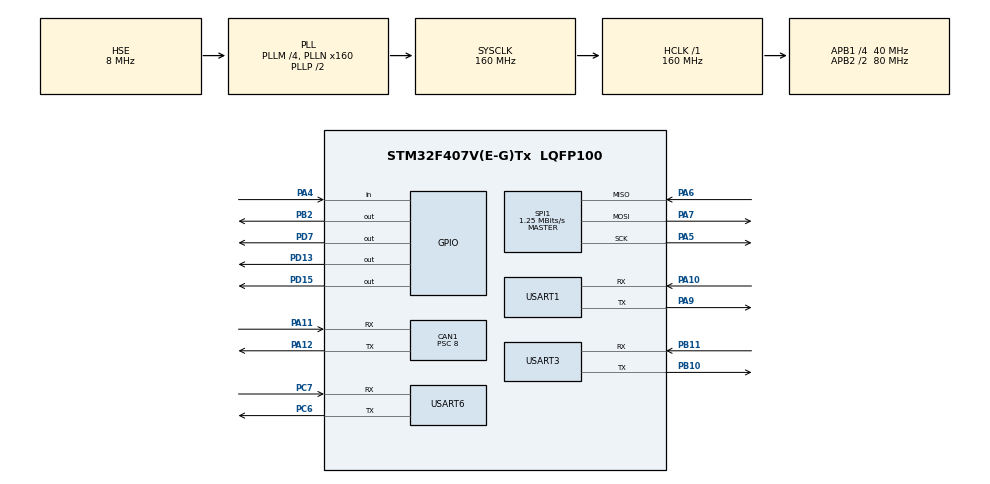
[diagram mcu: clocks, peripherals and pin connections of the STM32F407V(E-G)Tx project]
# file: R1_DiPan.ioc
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CAN1.BS1=CAN_BS1_3TQ
CAN1.CalculateBaudRate=1000000
CAN1.CalculateTimeBit=1000
CAN1.CalculateTimeQuantum=200.0
CAN1.Prescaler=8
Dma.Request0=USART6_RX
Dma.Request1=USART3_RX
Dma.USART3_RX.1.Direction=DMA_PERIPH_TO_MEMORY
Dma.USART3_RX.1.FIFOMode=DMA_FIFOMODE_DISABLE
Dma.USART3_RX.1.Instance=DMA1_Stream1
Dma.USART3_RX.1.MemDataAlignment=DMA_MDATAALIGN_BYTE
Dma.USART3_RX.1.MemInc=DMA_MINC_ENABLE
Dma.USART3_RX.1.Mode=DMA_CIRCULAR
Dma.USART3_RX.1.PeriphDataAlignment=DMA_PDATAALIGN_BYTE
Dma.USART3_RX.1.PeriphInc=DMA_PINC_DISABLE
Dma.USART3_RX.1.Priority=DMA_PRIORITY_LOW
Dma.USART6_RX.0.Direction=DMA_PERIPH_TO_MEMORY
Dma.USART6_RX.0.FIFOMode=DMA_FIFOMODE_DISABLE
Dma.USART6_RX.0.Instance=DMA2_Stream1
Dma.USART6_RX.0.MemDataAlignment=DMA_MDATAALIGN_BYTE
Dma.USART6_RX.0.MemInc=DMA_MINC_ENABLE
Dma.USART6_RX.0.Mode=DMA_CIRCULAR
Dma.USART6_RX.0.PeriphDataAlignment=DMA_PDATAALIGN_BYTE
Dma.USART6_RX.0.PeriphInc=DMA_PINC_DISABLE
Dma.USART6_RX.0.Priority=DMA_PRIORITY_LOW
Mcu.Family=STM32F4
Mcu.Name=STM32F407V(E-G)Tx
Mcu.Package=LQFP100
NVIC.CAN1_RX0_IRQn=true\:0\:0\:false\:false\:true\:true\:true\:true
NVIC.DMA1_Stream1_IRQn=true\:0\:0\:false\:false\:true\:false\:true\:true
NVIC.DMA2_Stream1_IRQn=true\:0\:0\:false\:false\:true\:false\:true\:true
NVIC.PriorityGroup=NVIC_PRIORITYGROUP_4
NVIC.TIM4_IRQn=true\:0\:0\:false\:false\:true\:true\:true\:true
NVIC.TIM5_IRQn=true\:0\:0\:false\:false\:true\:true\:true\:true
NVIC.USART1_IRQn=true\:0\:0\:false\:false\:true\:true\:true\:true
NVIC.USART6_IRQn=true\:0\:0\:false\:false\:true\:true\:true\:true
PA10.Mode=Asynchronous
PA10.Signal=USART1_RX
PA11.Mode=CAN_Activate
PA11.Signal=CAN1_RX
PA12.Mode=CAN_Activate
PA12.Signal=CAN1_TX
PA13.Mode=JTAG_5_pins
PA13.Signal=SYS_JTMS-SWDIO
PA14.Mode=JTAG_5_pins
PA14.Signal=SYS_JTCK-SWCLK
PA15.Mode=JTAG_5_pins
PA15.Signal=SYS_JTDI
PA4.Signal=GPIO_Input
PA5.Mode=Full_Duplex_Master
PA5.Signal=SPI1_SCK
PA6.Mode=Full_Duplex_Master
PA6.Signal=SPI1_MISO
PA7.Mode=Full_Duplex_Master
PA7.Signal=SPI1_MOSI
PA9.Mode=Asynchronous
PA9.Signal=USART1_TX
PB10.Mode=Asynchronous
PB10.Signal=USART3_TX
PB11.Mode=Asynchronous
PB11.Signal=USART3_RX
PB2.GPIO_PuPd=GPIO_NOPULL
PB2.PinState=GPIO_PIN_SET
PB2.Signal=GPIO_Output
PB3.Mode=JTAG_5_pins
PB3.Signal=SYS_JTDO-SWO
PB4.Mode=JTAG_5_pins
PB4.Signal=SYS_JTRST
PC6.Mode=Asynchronous
PC6.Signal=USART6_TX
PC7.Mode=Asynchronous
PC7.Signal=USART6_RX
PD13.GPIO_PuPd=GPIO_PULLDOWN
PD13.Signal=GPIO_Output
PD15.GPIO_PuPd=GPIO_PULLUP
PD15.PinState=GPIO_PIN_SET
PD15.Signal=GPIO_Output
PD7.GPIO_Speed=GPIO_SPEED_FREQ_VERY_HIGH
PD7.Signal=GPIO_Output
PH0-OSC_IN.Mode=HSE-External-Oscillator
PH0-OSC_IN.Signal=RCC_OSC_IN
PH1-OSC_OUT.Mode=HSE-External-Oscillator
PH1-OSC_OUT.Signal=RCC_OSC_OUT
ProjectManager.HeapSize=0x200
ProjectManager.StackSize=0x400
ProjectManager.TargetToolchain=MDK-ARM V5.27
RCC.48MHZClocksFreq_Value=80000000
RCC.AHBFreq_Value=160000000
RCC.APB1CLKDivider=RCC_HCLK_DIV4
RCC.APB1Freq_Value=40000000
RCC.APB1TimFreq_Value=80000000
RCC.APB2CLKDivider=RCC_HCLK_DIV2
RCC.APB2Freq_Value=80000000
RCC.APB2TimFreq_Value=160000000
RCC.CortexFreq_Value=160000000
RCC.HCLKFreq_Value=160000000
RCC.HSE_VALUE=8000000
RCC.HSI_VALUE=16000000
RCC.LSE_VALUE=32768
RCC.PLLM=4
RCC.PLLN=160
RCC.PLLSourceVirtual=RCC_PLLSOURCE_HSE
RCC.SYSCLKFreq_VALUE=160000000
RCC.SYSCLKSource=RCC_SYSCLKSOURCE_PLLCLK
RCC.VCOOutputFreq_Value=320000000
SPI1.BaudRatePrescaler=SPI_BAUDRATEPRESCALER_64
SPI1.CLKPhase=SPI_PHASE_2EDGE
SPI1.CalculateBaudRate=1.25 MBits/s
SPI1.Direction=SPI_DIRECTION_2LINES
SPI1.Mode=SPI_MODE_MASTER
SPI1.VirtualType=VM_MASTER
TIM4.AutoReloadPreload=TIM_AUTORELOAD_PRELOAD_ENABLE
TIM4.Period=1000-1
TIM4.Prescaler=80-1
TIM5.AutoReloadPreload=TIM_AUTORELOAD_PRELOAD_ENABLE
TIM5.Period=1000-1
TIM5.Prescaler=80-1
USART1.VirtualMode=VM_ASYNC
USART3.VirtualMode=VM_ASYNC
USART6.VirtualMode=VM_ASYNC
VP_TIM4_VS_ClockSourceINT.Mode=Internal
VP_TIM5_VS_ClockSourceINT.Mode=Internal
board=custom

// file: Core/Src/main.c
/* USER CODE BEGIN Header */
/**
  ******************************************************************************
  * @file           : main.c
  * @brief          : Main program body
  ******************************************************************************
  * @attention
  *
  * <h2><center>&copy; Copyright (c) 2022 STMicroelectronics.
  * All rights reserved.</center></h2>
  *
  * This software component is licensed by ST under BSD 3-Clause license,
  * the "License"; You may not use this file except in compliance with the
  * License. You may obtain a copy of the License at:
  *                        opensource.org/licenses/BSD-3-Clause
  *
  ******************************************************************************
  */
/* USER CODE END Header */
#include "main.h"
#include "can.h"
#include "dma.h"
#include "spi.h"
#include "tim.h"
#include "usart.h"
#include "gpio.h"

/* USER CODE BEGIN Includes */
#include "omni.h"
#include "nrf_com.h"
#include "Caculate.h"
#include "DJI.h"
#include "wtr_can.h"
#include "ADS1256.h"
#include "mpu6050.h"
#include "Wtr_MotionPlan.h"
#include "main.h"
#include "stdio.h"
#include "wtr_mavlink.h"
/* USER CODE END Includes */

/* USER CODE BEGIN PV */
int ref_x = 0;
int ref_y = 0;
int cur_x = 0;
int cur_y = 0;
int cur_gate[4] = {0,0,0,0};
int gate_y = 0;
int Ref_x[13] = {0,0,0,0,0,0,0,0,0,0,0,0,0};
int Ref_y[13] = {0,0,0,0,0,0,0,0,0,0,0,0,0};

int ifRecv = 0;
int ifRecv_mpu = 0;
int16_t HWT_init = 0;
int16_t HWT_init_lsat = 0;

uint32_t time = 0;
uint32_t enter_time = 0;
uint32_t tick = 0;

uint32_t counter = 0;

int b = 0;
int a = 0;

int state = 0;
int index_r = 0;
int index_b = 0;

uint8_t region = 0;

uint8_t zone = 0;
uint8_t qu_qiu = 0;
uint8_t she_qiu = 0;

float robot_vx = 0;
float robot_vy = 0;
float robot_rot = 0;
float robot_vx_last = 0;
float robot_vy_last = 0;
float robot_rot_last = 0;
float k_bias = 0.15;

int32_t Bias_mpu = 0;

mavlink_controller_t ControllerData = {0};
/* USER CODE END PV */

void SystemClock_Config(void);

int main(void)
{

  /* MCU Configuration--------------------------------------------------------*/

  /* Reset of all peripherals, Initializes the Flash interface and the Systick. */
  HAL_Init();

  /* Configure the system clock */
  SystemClock_Config();

  /* Initialize all configured peripherals */
  MX_GPIO_Init();
  MX_DMA_Init();
  MX_SPI1_Init();
  MX_USART6_UART_Init();
  MX_CAN1_Init();
  MX_TIM4_Init();
  MX_USART1_UART_Init();
  MX_TIM5_Init();
  MX_USART3_UART_Init();
  /* USER CODE BEGIN 2 */

	HAL_GPIO_WritePin(GPIOD,GPIO_PIN_15,GPIO_PIN_SET);
	HAL_GPIO_WritePin(GPIOD,GPIO_PIN_13,GPIO_PIN_RESET);

	CANFilterInit(&hcan1);

	hDJI[0].motorType = M3508;
	hDJI[1].motorType = M3508;
	hDJI[2].motorType = M3508;
	hDJI[3].motorType = M3508;

	DJI_Init();

	Kine_Init(0.55,0.55,0,0);

	ifRecv = 0;

	ADS1256_Init();
  // MotionPlan_Init(((float)(ADS1256_diff_data[3]))/547098.f,((float)(ADS1256_diff_data[0]))/547098.f);

	HAL_TIM_Base_Start_IT(&htim4);
	HAL_TIM_Base_Start_IT(&htim5);

	nrf_Transmit_init();
	// nrf_receive_init();

  WTR_MAVLink_Init(&huart1,MAVLINK_COMM_0);
  WTR_MAVLink_RcvStart(MAVLINK_COMM_0);

	// mpu6050_init();
	// HWT_init = HWT_BIAS;
  /* USER CODE END 2 */

  /* Infinite loop */
  /* USER CODE BEGIN WHILE */
  while (1)
  {
    tick = HAL_GetTick();
		while(!ifRecv)
		{
      time = 0;
		}

    ADS1256_UpdateDiffData();

    if(ControllerData.left_x > 100)
    {
      Leftx = -ControllerData.left_x - 100 + 2048;
    }
    else if (ControllerData.left_x < -100)
    {
      Leftx = -ControllerData.left_x + 100 + 2048;
    }
    else
    {
      Leftx = 2048;
    }

    if(ControllerData.left_y > 100)
    {
      Lefty = -ControllerData.left_y - 100 + 2048;
    }
    else if (ControllerData.left_y < -100)
    {
      Lefty = -ControllerData.left_y + 100 + 2048;
    }
    else
    {
      Lefty = 2048;
    }

    if(ControllerData.right_x > 100)
    {
      Rightx = -ControllerData.right_x - 100 + 2048;
    }
    else if (ControllerData.right_x < -100)
    {
      Rightx = -ControllerData.right_x + 100 + 2048;
    }
    else
    {
      Rightx = 2048;
    }

    if(ControllerData.right_y > 100)
    {
      Righty = -ControllerData.right_y - 100 + 2048;
    }
    else if (ControllerData.right_y < -100)
    {
      Righty = -ControllerData.right_y + 100 + 2048;
    }
    else
    {
      Righty = 2048;
    }

    // if(ControllerData.left_x>-100 || ControllerData.left_x<100) ControllerData.left_x = 0;
    // Leftx = ControllerData.left_x + 2048;
    // if(ControllerData.left_y>-100 || ControllerData.left_y<100) ControllerData.left_y = 0;
    // Rightx = ControllerData.right_x + 2048;
    // if(ControllerData.right_x>-100 || ControllerData.right_x<100) ControllerData.right_x = 0;
    // Lefty = ControllerData.left_y + 2048;
    // if(ControllerData.right_y>-100 || ControllerData.right_y<100) ControllerData.right_y = 0;
    // Righty = ControllerData.right_y + 2048;
    button_A = (ControllerData.buttons & (1<<0))/1;
    button_B = (ControllerData.buttons & (1<<1))/2;
    button_C = (ControllerData.buttons & (1<<2))/4;
    button_D = (ControllerData.buttons & (1<<3))/8;
    button_E = (ControllerData.buttons & (1<<4))/16;
    button_F = (ControllerData.buttons & (1<<5))/32;
    button_G = (ControllerData.buttons & (1<<6))/64;
    button_H = (ControllerData.buttons & (1<<7))/128;

    if(state == 0){
		robot_vx = ((float)(2048 - Leftx))/1000;
    if(robot_vx>0 && robot_vx<1) robot_vx = robot_vx*robot_vx;
    else if(robot_vx>-1 && robot_vx<0) robot_vx = -robot_vx*robot_vx;
	  robot_vy = ((float)(2048 - Lefty))/1000;
    if(robot_vy>0 && robot_vy<1) robot_vy = robot_vy*robot_vy;
    else if(robot_vy>-1 && robot_vy<0) robot_vy = -robot_vy*robot_vy;
    robot_rot = -((float)(Rightx - 2048))/1000;
    if(robot_rot>0 && robot_rot<1) robot_rot = robot_rot*robot_rot;
    else if(robot_rot>-1 && robot_rot<0) robot_rot = -robot_rot*robot_rot;
  //xian fu
		if(robot_rot>2) robot_rot = 2;
    if(robot_rot<-2) robot_rot = -2;
		if(robot_vx>2) robot_vx = 2;
    if(robot_vx<-2) robot_vx = -2;
		if(robot_vy>2) robot_vy = 2;
    if(robot_vy<-2) robot_vy = -2;
  //qu qiu you hua
    if(ADS1256_diff_data[0]<212000)
    {
      robot_vx*=0.3f;
      robot_vy*=0.3f;
    }
    }
    Kine_SetSpeed(robot_vx,robot_vy,robot_rot);

		CanTransmit_DJI_1234(&hcan1,
															 hDJI[0].speedPID.output,
															 hDJI[1].speedPID.output,
															 hDJI[2].speedPID.output,
															 hDJI[3].speedPID.output);

    if(button_E == 1 && button_B == 1)
    {
      switch (region)
      {
        case 0:
        zone = 25;
        break;
        case 1:
        zone = 1;
        break;
        case 3:
        zone = 3;
        break;
        case 5:
        zone = 5;
        break;
        case 7:
        zone = 7;
        break;
        case 9:
        zone = 9;
        break;
        case 11:
        zone = 11;
        break;
        case 2:
        zone = 13;
        break;
        case 4:
        zone = 15;
        break;
        case 6:
        zone = 17;
        break;
        case 8:
        zone = 19;
        break;
        case 10:
        zone = 21;
        break;
        case 12:
        zone = 23;
        break;
      default:
      zone = zone;
        break;
      }
    }

    if(button_F == 1 && button_B == 1)
    {
      switch (region)
      {
        case 0:
        zone = 0;
        break;
        case 1:
        zone = 2;
        break;
        case 3:
        zone = 4;
        break;
        case 5:
        zone = 6;
        break;
        case 7:
        zone = 8;
        break;
        case 9:
        zone = 10;
        break;
        case 11:
        zone = 12;
        break;
        case 2:
        zone = 14;
        break;
        case 4:
        zone = 16;
        break;
        case 6:
        zone = 18;
        break;
        case 8:
        zone = 20;
        break;
        case 10:
        zone = 22;
        break;
        case 12:
        zone = 24;
        break;
      default:
      zone = zone;
        break;
      }
    }

		nrfDataBag.Leftx = Leftx;
		nrfDataBag.Rightx = Rightx;
		nrfDataBag.Lefty = Lefty;
		nrfDataBag.Righty = Righty;
		nrfDataBag.button_A = button_A;
		nrfDataBag.button_B = button_B;
		nrfDataBag.button_C = button_C;
		nrfDataBag.button_D = button_D;
		nrfDataBag.button_E = button_E;
		nrfDataBag.button_F = button_F;
		nrfDataBag.button_G = button_G;
		nrfDataBag.button_H = button_H;
    nrfDataBag.zone = zone;
		nrfDataBag.qu_qiu = qu_qiu;
		nrfDataBag.she_qiu = she_qiu;
		send();

    //if(counter%5 == 0) printf("pgy:%d,%d,%d,%u\n",(int)(hDJI[2].speedPID.ref*100),(int)(hDJI[2].FdbData.rpm *100),(int)(hDJI[2].speedPID.output*100),(HAL_GetTick() - tick));
    /* USER CODE END WHILE */

    /* USER CODE BEGIN 3 */
		HAL_Delay(1);
    counter++;
		// wheel[0].speed = 	wheel[1].speed = 	wheel[2].speed = 	wheel[3].speed = 0;
  }
  /* USER CODE END 3 */
}

void SystemClock_Config(void)
{
  RCC_OscInitTypeDef RCC_OscInitStruct = {0};
  RCC_ClkInitTypeDef RCC_ClkInitStruct = {0};

  /** Configure the main internal regulator output voltage
  */
  __HAL_RCC_PWR_CLK_ENABLE();
  __HAL_PWR_VOLTAGESCALING_CONFIG(PWR_REGULATOR_VOLTAGE_SCALE1);

  /** Initializes the RCC Oscillators according to the specified parameters
  * in the RCC_OscInitTypeDef structure.
  */
  RCC_OscInitStruct.OscillatorType = RCC_OSCILLATORTYPE_HSE;
  RCC_OscInitStruct.HSEState = RCC_HSE_ON;
  RCC_OscInitStruct.PLL.PLLState = RCC_PLL_ON;
  RCC_OscInitStruct.PLL.PLLSource = RCC_PLLSOURCE_HSE;
  RCC_OscInitStruct.PLL.PLLM = 4;
  RCC_OscInitStruct.PLL.PLLN = 160;
  RCC_OscInitStruct.PLL.PLLP = RCC_PLLP_DIV2;
  RCC_OscInitStruct.PLL.PLLQ = 4;
  if (HAL_RCC_OscConfig(&RCC_OscInitStruct) != HAL_OK)
  {
    Error_Handler();
  }

  /** Initializes the CPU, AHB and APB buses clocks
  */
  RCC_ClkInitStruct.ClockType = RCC_CLOCKTYPE_HCLK|RCC_CLOCKTYPE_SYSCLK
                              |RCC_CLOCKTYPE_PCLK1|RCC_CLOCKTYPE_PCLK2;
  RCC_ClkInitStruct.SYSCLKSource = RCC_SYSCLKSOURCE_PLLCLK;
  RCC_ClkInitStruct.AHBCLKDivider = RCC_SYSCLK_DIV1;
  RCC_ClkInitStruct.APB1CLKDivider = RCC_HCLK_DIV4;
  RCC_ClkInitStruct.APB2CLKDivider = RCC_HCLK_DIV2;

  if (HAL_RCC_ClockConfig(&RCC_ClkInitStruct, FLASH_LATENCY_5) != HAL_OK)
  {
    Error_Handler();
  }
}

/* USER CODE BEGIN 4 */
void HAL_TIM_PeriodElapsedCallback(TIM_HandleTypeDef *htim)
{
	if (htim == (&htim4))
	{
		time++;
    if ((time % 2) == 1)
    {
      speedServo(wheel[0].speed,&hDJI[0]);
      speedServo(wheel[1].speed,&hDJI[1]);
      speedServo(wheel[2].speed,&hDJI[2]);
      speedServo(wheel[3].speed,&hDJI[3]);
    }
  }
  if (htim == (&htim5))
	{
		//FSM TRANS BEGIN
		if(button_E == 1 && button_D == 1 && state == 0)
		{
			// enter_time = time;
      // state = 1;
      switch (index_r)
      {
        case 0:
        ref_x = Ref_x[1];
        ref_y = Ref_y[1];
        region = 1;
        break;
        case 1:
        ref_x = Ref_x[3];
        ref_y = Ref_y[3];
        region = 3;
        break;
        case 2:
        ref_x = Ref_x[5];
        ref_y = Ref_y[5];
        region = 5;
        break;
        case 3:
        ref_x = Ref_x[7];
        ref_y = Ref_y[7];
        region = 7;
        break;
        case 4:
        ref_x = Ref_x[9];
        ref_y = Ref_y[9];
        region = 9;
        break;
        case 5:
        ref_x = Ref_x[11];
        ref_y = Ref_y[11];
        region = 11;
        break;

      default:
        // ref_x = ((float)(ADS1256_diff_data[3]))/547098.f;
        // ref_y = ((float)(ADS1256_diff_data[0]))/547098.f;
        ref_x = cur_x;
        ref_y = cur_y;
        region = region;
        break;
      }
    }
      if(button_F == 1 && button_D == 1 && state == 0)
		{
			// enter_time = time;
      // state = 2;
      switch (index_b)
      {
        case 0:
        ref_x = Ref_x[2];
        ref_y = Ref_y[2];
        region = 2;
        break;
        case 1:
        ref_x = Ref_x[4];
        ref_y = Ref_y[4];
        region = 4;
        break;
        case 2:
        ref_x = Ref_x[6];
        ref_y = Ref_y[6];
        region = 6;
        break;
        case 3:
        ref_x = Ref_x[8];
        ref_y = Ref_y[8];
        region = 8;
        break;
        case 4:
        ref_x = Ref_x[10];
        ref_y = Ref_y[10];
        region = 10;
        break;
        case 5:
        ref_x = Ref_x[12];
        ref_y = Ref_y[12];
        region = 12;
        break;

      default:
        // ref_x = ((float)(ADS1256_diff_data[3]))/547098.f;
        // ref_y = ((float)(ADS1256_diff_data[0]))/547098.f;
        ref_x = cur_x;
        ref_y = cur_y;
        region = region;
        break;
      }
		}

    if(button_A == 1 && state == 0)
	  {
      // enter_time = time;
      // state = 3;
      ref_x = Ref_x[0];
      ref_y = Ref_y[0];
      region = 0;
    }
    if(button_G == 1 && state == 0)
	  {
      enter_time = time;
      state = 4;
    }
    if(button_H == 1 && state == 0)
	  {
      enter_time = time;
      state = 5;
    }
    //FSM TRANS END

    //FSM DO BEGIN
    if((state == 1) || (state == 2) || (state == 3))
    {
      if((cur_x - ref_x) > 1000
      || (cur_x - ref_x) > 1000
      || (cur_y - ref_x) < -1000
      || (cur_y - ref_x) < -1000
      )
      {
        // WTR_MotionPlan_Update(&robot_vx,&robot_vy,time - enter_time,ref_x,ref_y,state);
        /* Bei Yong Fang An*/
        if((cur_x - ref_x) < 1000
        && (cur_x - ref_x) > -1000
        )
        {
          robot_vx = 0;
        }
        if((cur_y - ref_y) < 1000
        && (cur_y - ref_y) > -1000
        )
        {
          robot_vy = 0;
        }
      }
      else
      {
        robot_vx = robot_vy = 0;
        state = 0;
        /* Bei Yong Fang An*/
        // enter_time = time;
        // state = 3;
      }
    }
    /* Bei Yong Fang An*/
    else if(state == 3)
    {
      if (-(enter_time - time)<500)
      {
        robot_vx = robot_vy = 0;
        /* code */
      }
      else
      {
        state = 0;
      }
    }
    else if(state == 4)
    {
      if((time - enter_time)<175)
      {
        HAL_GPIO_WritePin(GPIOD,GPIO_PIN_7,GPIO_PIN_SET);
        robot_vx = robot_vy = 0;
      }
//      else if((time - enter_time)<200)
//      {
//        HAL_GPIO_WritePin(GPIOD,GPIO_PIN_7,GPIO_PIN_RESET);
//        robot_vx = robot_vy = 0;
//      }
//      else if((time - enter_time)<300)
//      {
//        HAL_GPIO_WritePin(GPIOD,GPIO_PIN_7,GPIO_PIN_SET);
//        robot_vx = robot_vy = 0;
//      }
      else
      {
        index_r++;
        if(index_r>5) index_r -= 6;
        state = 0;
      }
    }
    else if(state == 5)
    {
      if((time - enter_time)<175)
      {
        HAL_GPIO_WritePin(GPIOD,GPIO_PIN_7,GPIO_PIN_SET);
        robot_vx = robot_vy = 0;
      }
//      else if((time - enter_time)<200)
//      {
//        HAL_GPIO_WritePin(GPIOD,GPIO_PIN_7,GPIO_PIN_RESET);
//        robot_vx = robot_vy = 0;
//      }
//      else if((time - enter_time)<300)
//      {
//        HAL_GPIO_WritePin(GPIOD,GPIO_PIN_7,GPIO_PIN_SET);
//        robot_vx = robot_vy = 0;
//      }
      else
      {
        index_b++;
        if(index_b>5) index_b -= 6;
        state = 0;
      }
    }
    else
    {
      //

      WTR_MotionPlan_Update(&robot_vx,&robot_vy,time - enter_time,ref_x,ref_y,state);
    }
    //FSM DO END
	}
}

void HAL_UART_RxCpltCallback(UART_HandleTypeDef *huart)
{
    if(huart == &huart1)
    {
			  ifRecv = 1;
        WTR_MAVLink_UART_RxCpltCallback(&huart1);
    }
		// if(huart == &huart3)
		// {
    //     ifRecv_mpu = 1;
		// 		mpu6050_decode();
		// }
}

/**
 * @brief MAVLink 消息接收完毕回调函数，需要在这里调用解码函数
 *
 * @param msg
 * @return void
 */
void WTR_MAVLink_Msg_RxCpltCallback(mavlink_message_t *msg)
{
	switch (msg->msgid)
	{
	case 1:
		// id = 1 的消息对应的解码函数
    mavlink_msg_controller_decode(msg,&ControllerData);
		break;

	case 2:
		// id = 2 的消息对应的解码函数
		break;
	// ......
	default:
		break;
	}
}
/* USER CODE END 4 */

void Error_Handler(void)
{
  __disable_irq();
  while (1)
  {
  }
}
